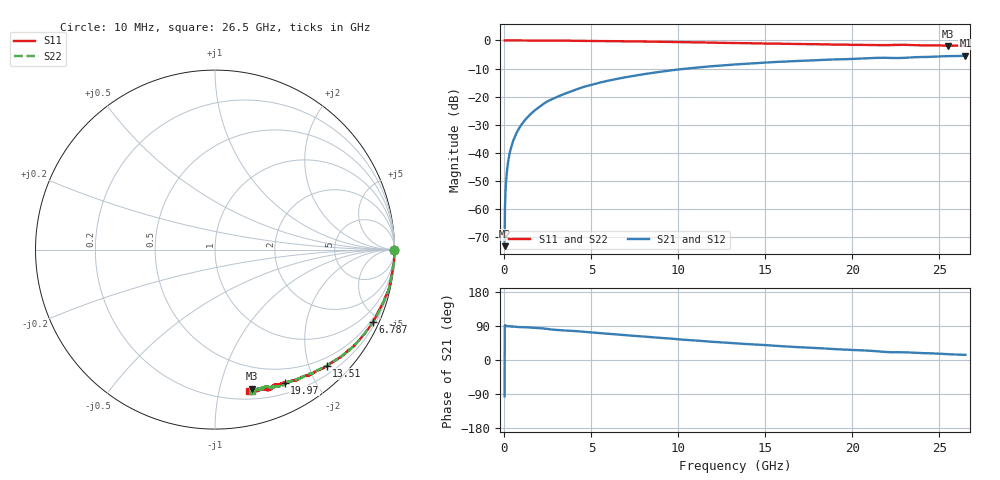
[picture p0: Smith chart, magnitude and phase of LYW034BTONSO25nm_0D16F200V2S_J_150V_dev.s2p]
!Keysight Technologies,N5222B,MY61253708,A.15.00.15
!Date: Wednesday, June 19, 2024 10:09:58
!Correction: S11(C  2-Port  )
!S21(C  2-Port  )
!S12(C  2-Port  )
!S22(C  2-Port  )
!S2P File: Measurements: S11, S21, S12, S22:
# Hz S  RI  R 50
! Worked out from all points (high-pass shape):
!   2651 points, 10 MHz to 26.5 GHz, reference 50 ohm
!   highest |S21| = -5.41 dB at 26.5 GHz (marker M1); lowest = -73.2 dB at 10 MHz (marker M2)
!   |S21| within 3 dB of the highest: 13.57 GHz to end of sweep
!   lowest |S11| = -1.9 dB at 25.5 GHz (marker M3), VSWR 9.13, Z = 14.5 - j63 ohm
!   |S11| at or under -10 dB: nowhere
!   |S22| runs from -1.8 to 0.0 dB; largest |S21 - S12| = 0.0059
!   S11 on the Smith chart (normalised r, x): 10 MHz: open; 6.787 GHz: 0.36, -4.54; 13.51 GHz: 0.35, -2.30; 19.97 GHz: 0.33, -1.60; 26.5 GHz: 0.27, -1.23
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1e7  0.9987 -0.00308  -2.22e-05 -0.000218  -0.000166 0.000502  0.9982 -0.0015
7.997358e7  1 -0.00569  1.54e-05 0.00263  1.35e-05 0.00264  0.9994 -0.00512
1.499472e8  1 -0.0107  4.4e-05 0.00489  6.62e-05 0.00493  0.9997 -0.00996
1.899321e8  1 -0.0127  7.51e-05 0.0062  0.000104 0.00624  0.9999 -0.0118
2.499094e8  0.9997 -0.017  0.000145 0.00817  0.00014 0.0082  0.9995 -0.016
3.498717e8  0.9997 -0.0236  0.000264 0.0114  0.000221 0.0115  0.9997 -0.0226
4.698264e8  0.999 -0.0317  0.000465 0.0153  0.000453 0.0154  0.9983 -0.0305
6.29766e8  0.9989 -0.0416  0.000842 0.0206  0.000844 0.0206  0.9987 -0.0404
8.096981e8  0.9982 -0.0535  0.00137 0.0263  0.00135 0.0264  0.9977 -0.0521
1.43946e9  0.9911 -0.096  0.00328 0.0469  0.00332 0.047  0.9934 -0.0919
2.329125e9  0.9824 -0.1503  0.00965 0.0768  0.0098 0.0771  0.9837 -0.1497
3.228785e9  0.971 -0.2072  0.0206 0.1032  0.0209 0.1037  0.973 -0.2032
4.428332e9  0.9439 -0.2781  0.0373 0.1398  0.0376 0.1404  0.9462 -0.2739
6.787442e9  0.8792 -0.4042  0.0883 0.1977  0.0892 0.1979  0.8817 -0.4017
8.846664e9  0.807 -0.4995  0.142 0.2349  0.1431 0.2352  0.8104 -0.4955
1.3255e10  0.6327 -0.6408  0.268 0.2606  0.2696 0.2601  0.6397 -0.6369
1.35149e10  0.6215 -0.6476  0.2748 0.2598  0.2764 0.2595  0.6295 -0.6424
1.767333e10  0.4616 -0.7219  0.3742 0.2345  0.3769 0.2326  0.4761 -0.7178
1.997246e10  0.3873 -0.7408  0.419 0.2108  0.4212 0.2082  0.4049 -0.738
2.209166e10  0.326 -0.7563  0.4576 0.1738  0.4588 0.1706  0.3246 -0.7619
2.550038e10  0.2068 -0.7756  0.5076 0.1379  0.5084 0.1373  0.2316 -0.778
2.65e10  0.187 -0.7893  0.521 0.1266  0.52 0.1228  0.2052 -0.788
